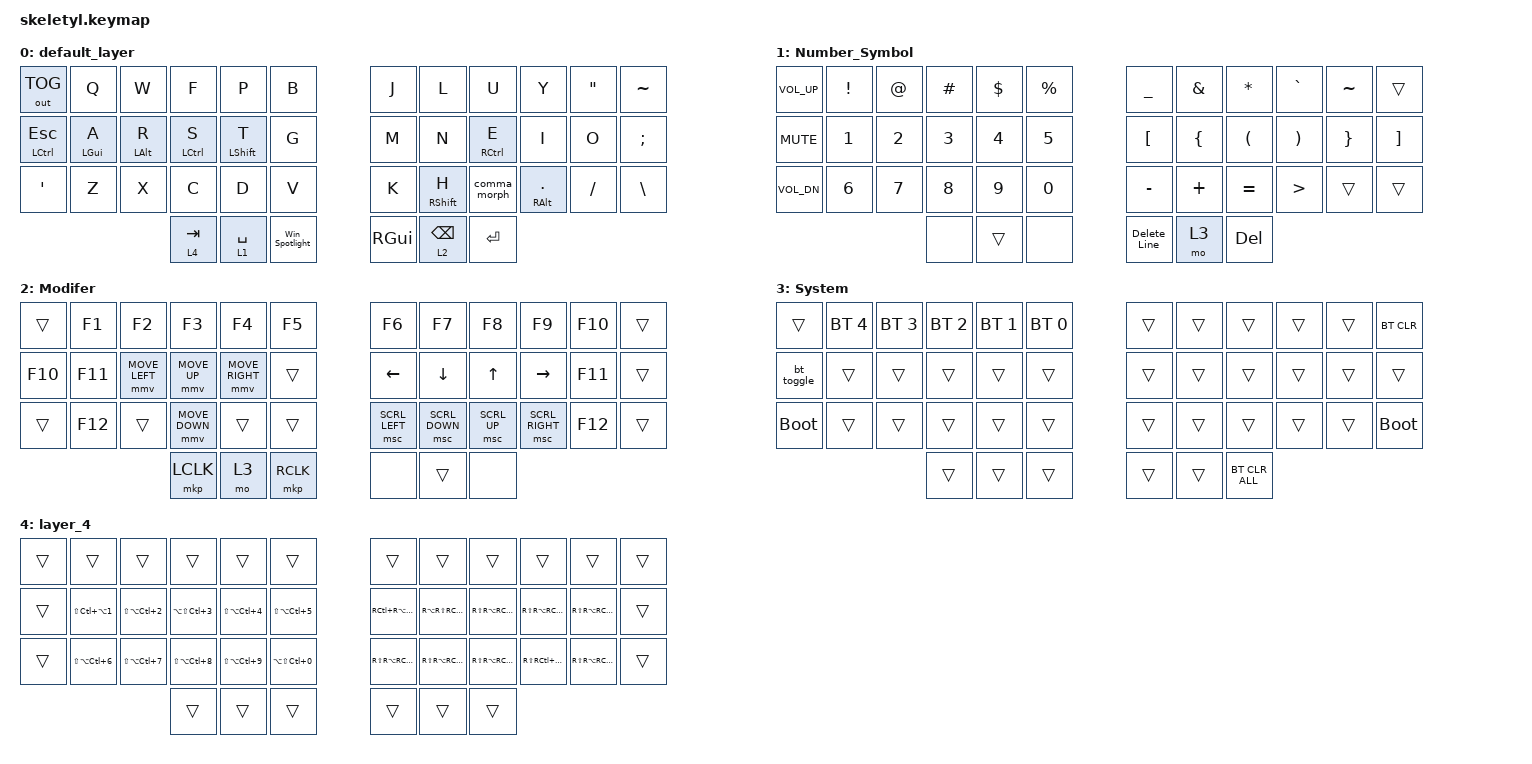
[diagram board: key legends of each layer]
#include <behaviors.dtsi>
#include <dt-bindings/zmk/bt.h>
#include <dt-bindings/zmk/keys.h>
#include <dt-bindings/zmk/outputs.h>
#include <dt-bindings/zmk/pointing.h>

#define ZMK_POINTING_DEFAULT_MOVE_VAL 1500  // default: 600
#define ZMK_POINTING_DEFAULT_SCRL_VAL 20    // default: 10

&mt {
    quick-tap-ms = <175>;
    require-prior-idle-ms = <150>;
    flavor = "balanced";
    hold-trigger-on-release;
};

/ {
    combos {
        compatible = "zmk,combos";

        Left_Enter {
            bindings = <&kp ENTER>;
            key-positions = <15 16>;
        };

        Backspace {
            bindings = <&kp BSPC>;
            key-positions = <28 27>;
        };
    };

    behaviors {
        bt_toggle: bt_toggle {
            compatible = "zmk,behavior-tap-dance";
            label = "BT_TOGGLE";
            #binding-cells = <0>;
            bindings = <&bt BT_SEL 0>, <&bt BT_SEL 1>;
        };

        Win_Spotlight: Win_Spotlight {
            compatible = "zmk,behavior-tap-dance";
            label = "WIN_SPOTLIGHT";
            #binding-cells = <0>;
            bindings = <&kp LGUI>, <&kp LA(SPACE)>;
        };

        hml: hml {
            compatible = "zmk,behavior-hold-tap";
            label = "HML";
            bindings = <&kp>, <&kp>;

            #binding-cells = <2>;
            tapping-term-ms = <280>;
            quick-tap-ms = <175>;
            require-prior-idle-ms = <150>;
            flavor = "balanced";
            hold-trigger-on-release;
            hold-trigger-key-positions = <6 7 8 9 10 11 18 19 20 21 22 23 30 31 32 33 34 35 39 40 41 36 37 38>;
        };

        hmr: hmr {
            compatible = "zmk,behavior-hold-tap";
            label = "HMR";
            bindings = <&kp>, <&kp>;

            #binding-cells = <2>;
            tapping-term-ms = <280>;
            quick-tap-ms = <175>;
            require-prior-idle-ms = <150>;
            flavor = "balanced";
            hold-trigger-key-positions = <0 1 2 3 4 5 12 13 14 15 16 17 24 25 26 27 28 29 36 37 38 39 40 41>;
            hold-trigger-on-release;
        };

        new_behavior: new_behavior {
            compatible = "zmk,behavior-mod-morph";
            label = "NEW_BEHAVIOR";
            bindings = <&kp SEMI>, <&kp LT>;

            #binding-cells = <0>;
            mods = <(MOD_LCTL|MOD_RCTL)>;
        };

        comma_morph: comma_morph {
            compatible = "zmk,behavior-mod-morph";
            label = "COMMA_MORPH";
            bindings = <&kp COMMA>, <&comma_morph>;

            #binding-cells = <0>;
            mods = <(MOD_LSFT|MOD_RSFT)>;
        };
    };

    macros {
        Delete_Line: Delete_Line {
            compatible = "zmk,behavior-macro";
            #binding-cells = <0>;
            bindings = <&kp LC(A)>, <&macro_wait_time 20>, <&kp BACKSPACE>;

            label = "DELETE_LINE";
        };
    };

    keymap {
        compatible = "zmk,keymap";

        default_layer {
            bindings = <
&out OUT_TOG   &kp Q        &kp W       &kp F        &kp P        &kp B             &kp J          &kp L        &kp U         &kp Y         &kp DQT   &kp TILDE
&mt LCTRL ESC  &hml LGUI A  &mt LALT R  &mt LCTRL S  &mt LSHFT T  &kp G             &kp M          &kp N        &mt RCTRL E   &kp I         &kp O     &kp SEMI
&kp SQT        &kp Z        &kp X       &kp C        &kp D        &kp V             &kp K          &mt RSHFT H  &comma_morph  &mt RALT DOT  &kp FSLH  &kp BACKSLASH
                                        &lt 4 TAB    &lt 1 SPACE  &Win_Spotlight    &kp RIGHT_GUI  &lt 2 BSPC   &kp ENTER
            >;
        };

        Number_Symbol {
            bindings = <
&kp C_VOL_UP  &kp EXCL      &kp AT        &kp HASH      &kp DOLLAR    &kp PERCENT    &kp UNDER         &kp AMPS        &kp ASTRK             &kp GRAVE              &kp TILDE        &trans
&kp C_MUTE    &kp NUMBER_1  &kp NUMBER_2  &kp NUMBER_3  &kp NUMBER_4  &kp N5         &kp LEFT_BRACKET  &kp LEFT_BRACE  &kp LEFT_PARENTHESIS  &kp RIGHT_PARENTHESIS  &kp RIGHT_BRACE  &kp RIGHT_BRACKET
&kp C_VOL_DN  &kp N6        &kp N7        &kp N8        &kp N9        &kp N0         &kp MINUS         &kp PLUS        &kp EQUAL             &kp GREATER_THAN       &trans           &trans
                                          &none         &trans        &none          &Delete_Line      &mo 3           &kp DELETE
            >;
        };

        Modifer {
            bindings = <
&trans   &kp F1   &kp F2          &kp F3          &kp F4           &kp F5       &kp F6          &kp F7          &kp F8        &kp F9           &kp F10  &trans
&kp F10  &kp F11  &mmv MOVE_LEFT  &mmv MOVE_UP    &mmv MOVE_RIGHT  &trans       &kp LEFT        &kp DOWN        &kp UP        &kp RIGHT        &kp F11  &trans
&trans   &kp F12  &trans          &mmv MOVE_DOWN  &trans           &trans       &msc SCRL_LEFT  &msc SCRL_DOWN  &msc SCRL_UP  &msc SCRL_RIGHT  &kp F12  &trans
                                  &mkp LCLK       &mo 3            &mkp RCLK    &none           &trans          &none
            >;
        };

        System {
            bindings = <
&trans       &bt BT_SEL 4  &bt BT_SEL 3  &bt BT_SEL 2  &bt BT_SEL 1  &bt BT_SEL 0    &trans  &trans  &trans          &trans  &trans  &bt BT_CLR
&bt_toggle   &trans        &trans        &trans        &trans        &trans          &trans  &trans  &trans          &trans  &trans  &trans
&bootloader  &trans        &trans        &trans        &trans        &trans          &trans  &trans  &trans          &trans  &trans  &bootloader
                                         &trans        &trans        &trans          &trans  &trans  &bt BT_CLR_ALL
            >;
        };

        layer_4 {
            bindings = <
&trans  &trans              &trans              &trans              &trans              &trans                &trans                  &trans                  &trans                  &trans                  &trans                  &trans
&trans  &kp LS(LC(LA(N1)))  &kp LS(LA(LC(N2)))  &kp LA(LS(LC(N3)))  &kp LS(LA(LC(N4)))  &kp LS(LA(LC(N5)))    &kp RC(RA(RS(RG(N1))))  &kp RA(RS(RC(RG(N2))))  &kp RS(RA(RC(RG(N3))))  &kp RS(RA(RC(RG(N4))))  &kp RS(RA(RC(RG(N5))))  &trans
&trans  &kp LS(LA(LC(N6)))  &kp LS(LA(LC(N7)))  &kp LS(LA(LC(N8)))  &kp LS(LA(LC(N9)))  &kp LA(LS(LC(N0)))    &kp RS(RA(RC(RG(N6))))  &kp RS(RA(RC(N7)))      &kp RS(RA(RC(RG(N8))))  &kp RS(RC(RG(RA(N9))))  &kp RS(RA(RC(RG(N0))))  &trans
                                                &trans              &trans              &trans                &trans                  &trans                  &trans
            >;
        };
    };
};
